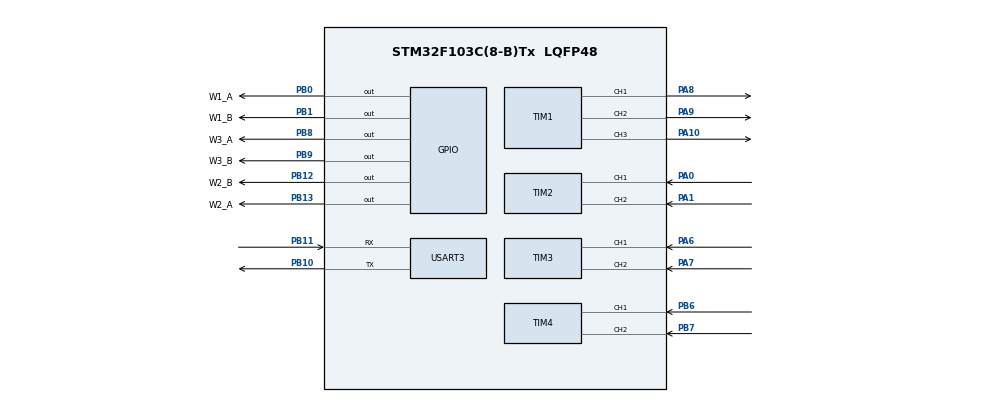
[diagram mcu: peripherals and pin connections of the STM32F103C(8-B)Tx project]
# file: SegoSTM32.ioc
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Mcu.Family=STM32F1
Mcu.Name=STM32F103C(8-B)Tx
Mcu.Package=LQFP48
NVIC.PriorityGroup=NVIC_PRIORITYGROUP_4
PA0-WKUP.Signal=S_TIM2_CH1_ETR
PA1.Signal=S_TIM2_CH2
PA10.Signal=S_TIM1_CH3
PA13.Mode=Serial_Wire
PA13.Signal=SYS_JTMS-SWDIO
PA14.Mode=Serial_Wire
PA14.Signal=SYS_JTCK-SWCLK
PA6.Signal=S_TIM3_CH1
PA7.Signal=S_TIM3_CH2
PA8.Signal=S_TIM1_CH1
PA9.Signal=S_TIM1_CH2
PB0.GPIO_Label=W1_A
PB0.Signal=GPIO_Output
PB1.GPIO_Label=W1_B
PB1.Signal=GPIO_Output
PB10.Mode=Asynchronous
PB10.Signal=USART3_TX
PB11.Mode=Asynchronous
PB11.Signal=USART3_RX
PB12.GPIO_Label=W2_B
PB12.Signal=GPIO_Output
PB13.GPIO_Label=W2_A
PB13.Signal=GPIO_Output
PB6.Signal=S_TIM4_CH1
PB7.Signal=S_TIM4_CH2
PB8.GPIO_Label=W3_A
PB8.Signal=GPIO_Output
PB9.GPIO_Label=W3_B
PB9.Signal=GPIO_Output
ProjectManager.HeapSize=0x200
ProjectManager.StackSize=0x400
ProjectManager.TargetToolchain=STM32CubeIDE
RCC.APB1Freq_Value=8000000
RCC.APB2Freq_Value=8000000
SH.S_TIM1_CH1.0=TIM1_CH1,PWM Generation1 CH1
SH.S_TIM1_CH2.0=TIM1_CH2,PWM Generation2 CH2
SH.S_TIM1_CH3.0=TIM1_CH3,PWM Generation3 CH3
SH.S_TIM2_CH1_ETR.0=TIM2_CH1,Encoder_Interface
SH.S_TIM2_CH2.0=TIM2_CH2,Encoder_Interface
SH.S_TIM3_CH1.0=TIM3_CH1,Encoder_Interface
SH.S_TIM3_CH2.0=TIM3_CH2,Encoder_Interface
SH.S_TIM4_CH1.0=TIM4_CH1,Encoder_Interface
SH.S_TIM4_CH2.0=TIM4_CH2,Encoder_Interface
TIM1.Channel-PWM\ Generation1\ CH1=TIM_CHANNEL_1
TIM1.Channel-PWM\ Generation2\ CH2=TIM_CHANNEL_2
TIM1.Channel-PWM\ Generation3\ CH3=TIM_CHANNEL_3
USART3.VirtualMode=VM_ASYNC
board=custom

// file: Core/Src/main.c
/* USER CODE BEGIN Header */
/**
  ******************************************************************************
  * @file           : main.c
  * @brief          : Main program body
  ******************************************************************************
  * @attention
  *
  * Copyright (c) 2025 STMicroelectronics.
  * All rights reserved.
  *
  * This software is licensed under terms that can be found in the LICENSE file
  * in the root directory of this software component.
  * If no LICENSE file comes with this software, it is provided AS-IS.
  *
  ******************************************************************************
  */
/* USER CODE END Header */
#include "main.h"

/* USER CODE BEGIN Includes */
//THEANH
#include "motor_control.h"
#include <ctype.h>
#include <math.h>
#include <stdio.h>
#include <string.h>
#include <stdlib.h>
//THEANH END
/* USER CODE END Includes */

/* USER CODE BEGIN PD */
//THEANH
#define ENCODER_CPR             52      // Counts per motor shaft revolution
#define GEAR_RATIO              34      // Gear ratio (34:1 or 75:1)
#define COUNTS_PER_WHEEL_REV    (ENCODER_CPR * GEAR_RATIO)  // 1768 for 1:34
#define WHEEL_DIAMETER_M        0.058   // 58mm wheel diameter
#define WHEEL_CIRCUMFERENCE_M   (M_PI * WHEEL_DIAMETER_M)  // 0.182 meters
#define ROBOT_RADIUS_M          0.105   // 10.5cm from center to wheel
// Empirical scale so encoder odometry matches 10/20cm tape tests (actual ≈ 77-86% of requested travel)
#define ODOM_DISTANCE_SCALE     0.902521f  // Updated from MOVE calibration (~0.885m actual for 1.0m odom)
#define METERS_PER_COUNT        ((WHEEL_CIRCUMFERENCE_M / COUNTS_PER_WHEEL_REV) * ODOM_DISTANCE_SCALE)
#define ODOMETRY_UPDATE_HZ      50      // Calculate odometry 50 times per second
#define ODOMETRY_UPDATE_MS      (1000 / ODOMETRY_UPDATE_HZ)
#define UART_BAUD_RATE          115200  // Baud rate for Raspberry Pi communication
#define DEG2RAD(x)              ((x) * (float)M_PI / 180.0f)
#define ANGULAR_RATE_TOL        0.05f   // rad/s tolerance for declaring rotation complete

// Wheel geometry mapped to motor indices (motor1 right/back, motor2 front, motor3 left/back)
static const float wheel_position_angles_deg[3] = { 60.0f, 180.0f, 300.0f };
static const float wheel_drive_angles_deg[3]    = { 150.0f, 270.0f, 30.0f };
//THEANH END
/* USER CODE END PD */

TIM_HandleTypeDef htim1;
TIM_HandleTypeDef htim2;
TIM_HandleTypeDef htim3;
TIM_HandleTypeDef htim4;

UART_HandleTypeDef huart3;

/* USER CODE BEGIN PV */
//THEANH
typedef struct {
    int32_t count;          // Current encoder count
    int32_t prev_count;     // Previous encoder count
    int32_t delta_count;    // Change in count
    float velocity;         // Wheel velocity (m/s)
} EncoderData;

EncoderData motor1, motor2, motor3;
typedef struct {
    float x;                // X position (meters)
    float y;                // Y position (meters)
    float theta;            // Orientation (radians)
    float vx;               // Linear velocity X (m/s)
    float vy;               // Linear velocity Y (m/s)
    float omega;            // Angular velocity (rad/s)
} RobotOdometry;

RobotOdometry robot = {0};
uint32_t last_odometry_time = 0;
char uart_buffer[200];
uint8_t uart_rx_byte = 0;
volatile uint8_t uart_command_ready = 0;
size_t uart_command_length = 0;
char command_buffer[64];

typedef struct {
    uint8_t active;
    MotorDirection direction;
    float duty;  // PWM duty cycle (0.0 to 1.0)
    uint32_t end_time;
} MotorTimer;

MotorTimer motor_timers[3] = {0};

typedef struct {
    uint8_t active;
    float target_x;
    float target_y;
    float target_theta;
    float tolerance_distance;  // meters
    float tolerance_angle;     // radians
    uint32_t timeout_ms;
    uint32_t start_time;
    uint8_t debug_logged_start;
    uint32_t last_debug_time;
} ClosedLoopTarget;

ClosedLoopTarget closed_loop_target = {0};
typedef struct {
    uint8_t active;
    uint32_t end_time;
    float target_theta;
    float base_pwm;
    uint32_t last_debug_time;
} TimedForwardTarget;

TimedForwardTarget timed_forward_target = {0};

typedef struct {
    uint8_t active;
    float target_distance;
    float start_x;
    float start_y;
    float base_pwm;
    uint32_t timeout_ms;
    uint32_t start_time;
    // PID state
    float pid_integral;
    float pid_previous_error;
    float pid_filtered_output;
} MoveTarget;

MoveTarget move_target = {0};

static const float TIMED_HEADING_GAIN = 0.6f;
float wheel_to_body_mat[3][3];   // Maps chassis twist to wheel speeds
float body_from_wheel_mat[3][3]; // Maps wheel speeds back to chassis twist

// Configurable parameters (can be set via SET_PARAM command from Python)
typedef struct {
    // Odometry calibration
    float odom_distance_scale;
    float odom_angular_scale;  // Separate scale for rotation (compensates for wheel slip during rotation)

    // Closed-loop position control
    float linear_k;
    float angular_k;
    float max_speed;
    float min_duty_linear;
    float min_duty_rotate;
    float min_duty_brake;

    // MOVE PID control
    float move_kp;
    float move_ki;
    float move_kd;
    float move_min_pwm;
    float move_max_pwm;
    float move_output_smoothing;
    float move_base_skew;
    float move_base_pwm;
    uint32_t move_timeout_ms;

    // ROTATE tolerances
    float rotate_tol_distance;
    float rotate_tol_angle;
    uint32_t rotate_timeout_ms;

    // MOVE_DIST tolerances
    float move_dist_tol_distance;
    float move_dist_tol_angle;
    uint32_t move_dist_timeout_ms;

    // Angular rate tolerance for "stopped" detection
    float angular_rate_tol;
} ConfigParams;

ConfigParams cfg = {
    // Odometry calibration
    .odom_distance_scale = 0.902521f,
    .odom_angular_scale = 1.0f,  // Default 1.0 (no additional angular correction)

    // Closed-loop position control
    .linear_k = 1.0f,
    .angular_k = 0.55f,
    .max_speed = 0.8f,
    .min_duty_linear = 0.45f,
    .min_duty_rotate = 0.48f,
    .min_duty_brake = 0.18f,

    // MOVE PID control
    .move_kp = -0.0040f,
    .move_ki = -0.00015f,
    .move_kd = -0.0008f,
    .move_min_pwm = 0.46f,
    .move_max_pwm = 0.70f,
    .move_output_smoothing = 0.25f,
    .move_base_skew = 0.015f,
    .move_base_pwm = 0.58f,
    .move_timeout_ms = 20000,

    // ROTATE tolerances
    .rotate_tol_distance = 0.02f,
    .rotate_tol_angle = 0.02f,
    .rotate_timeout_ms = 10000,

    // MOVE_DIST tolerances
    .move_dist_tol_distance = 0.01f,
    .move_dist_tol_angle = 0.05f,
    .move_dist_timeout_ms = 10000,

    // Angular rate tolerance
    .angular_rate_tol = 0.05f,
};
//THEANH END
/* USER CODE END PV */

void SystemClock_Config(void);
static void MX_GPIO_Init(void);
static void MX_TIM2_Init(void);
static void MX_TIM3_Init(void);
static void MX_TIM4_Init(void);
static void MX_USART3_UART_Init(void);
static void MX_TIM1_Init(void);
/* USER CODE BEGIN PFP */
//THEANH
void Read_Encoders(void);
void Calculate_Odometry(float dt);
void Send_Odometry_Data(void);
void Process_Command(const char *command);
void MotorTimers_Update(void);
static int32_t Encoder_ComputeDelta(int32_t current_count, int32_t previous_count);
uint8_t IsAtTarget(void);
void UpdateClosedLoopControl(void);
void UpdateTimedForwardControl(void);
void UpdateMoveControl(void);
void Kinematics_Init(void);
static void Mat3MulVec(const float m[3][3], const float v[3], float out[3]);
static uint8_t Mat3Inverse(const float m[3][3], float inv[3][3]);
//THEANH END
/* USER CODE END PFP */

/* USER CODE BEGIN 0 */
//THEANH
static int32_t Encoder_ComputeDelta(int32_t current_count, int32_t previous_count)
{
    int32_t delta = current_count - previous_count;
    if (delta > 32768) {
        delta -= 65536;
    } else if (delta < -32768) {
        delta += 65536;
    }
    return delta;
}

void Read_Encoders(void)
{
    // Read current encoder counts
    motor1.count = (int32_t)__HAL_TIM_GET_COUNTER(&htim2);
    motor2.count = (int32_t)__HAL_TIM_GET_COUNTER(&htim3);
    motor3.count = (int32_t)__HAL_TIM_GET_COUNTER(&htim4);

    // Calculate change in counts
    motor1.delta_count = Encoder_ComputeDelta(motor1.count, motor1.prev_count);
    motor2.delta_count = Encoder_ComputeDelta(motor2.count, motor2.prev_count);
    motor3.delta_count = Encoder_ComputeDelta(motor3.count, motor3.prev_count);

    // Update previous counts
    motor1.prev_count = motor1.count;
    motor2.prev_count = motor2.count;
    motor3.prev_count = motor3.count;
}

static void Mat3MulVec(const float m[3][3], const float v[3], float out[3])
{
    for (uint8_t i = 0; i < 3; ++i) {
        out[i] = m[i][0] * v[0] + m[i][1] * v[1] + m[i][2] * v[2];
    }
}

static uint8_t Mat3Inverse(const float m[3][3], float inv[3][3])
{
    float det = m[0][0] * (m[1][1] * m[2][2] - m[1][2] * m[2][1])
              - m[0][1] * (m[1][0] * m[2][2] - m[1][2] * m[2][0])
              + m[0][2] * (m[1][0] * m[2][1] - m[1][1] * m[2][0]);

    if (fabsf(det) < 1e-6f) {
        return 0;
    }

    float inv_det = 1.0f / det;
    inv[0][0] =  (m[1][1] * m[2][2] - m[1][2] * m[2][1]) * inv_det;
    inv[0][1] = -(m[0][1] * m[2][2] - m[0][2] * m[2][1]) * inv_det;
    inv[0][2] =  (m[0][1] * m[1][2] - m[0][2] * m[1][1]) * inv_det;

    inv[1][0] = -(m[1][0] * m[2][2] - m[1][2] * m[2][0]) * inv_det;
    inv[1][1] =  (m[0][0] * m[2][2] - m[0][2] * m[2][0]) * inv_det;
    inv[1][2] = -(m[0][0] * m[1][2] - m[0][2] * m[1][0]) * inv_det;

    inv[2][0] =  (m[1][0] * m[2][1] - m[1][1] * m[2][0]) * inv_det;
    inv[2][1] = -(m[0][0] * m[2][1] - m[0][1] * m[2][0]) * inv_det;
    inv[2][2] =  (m[0][0] * m[1][1] - m[0][1] * m[1][0]) * inv_det;
    return 1;
}

void Kinematics_Init(void)
{
    // Build kinematic rows in physical order: front (motor2), left (motor3), right (motor1)
    const uint8_t order[3] = {1, 2, 0}; // indices into wheel_*_angles arrays
    for (uint8_t row = 0; row < 3; ++row) {
        uint8_t i = order[row];
        float drive_rad = DEG2RAD(wheel_drive_angles_deg[i]);
        float pos_rad = DEG2RAD(wheel_position_angles_deg[i]);
        float tx = cosf(drive_rad);
        float ty = sinf(drive_rad);
        float rx = ROBOT_RADIUS_M * cosf(pos_rad);
        float ry = ROBOT_RADIUS_M * sinf(pos_rad);

        wheel_to_body_mat[row][0] = tx;
        wheel_to_body_mat[row][1] = ty;
        wheel_to_body_mat[row][2] = -ry * tx + rx * ty;
    }

    if (!Mat3Inverse(wheel_to_body_mat, body_from_wheel_mat)) {
        for (uint8_t r = 0; r < 3; ++r) {
            for (uint8_t c = 0; c < 3; ++c) {
                body_from_wheel_mat[r][c] = (r == c) ? 1.0f : 0.0f;
            }
        }
    }
}
void Calculate_Odometry(float dt)
{
    if (dt <= 0) return;  // Avoid division by zero

    // Calculate meters per count using configurable scale
    float meters_per_count = (WHEEL_CIRCUMFERENCE_M / COUNTS_PER_WHEEL_REV) * cfg.odom_distance_scale;

    // Calculate wheel velocities (m/s)
    float v1 = (motor1.delta_count * meters_per_count) / dt;
    float v2 = (motor2.delta_count * meters_per_count) / dt;
    float v3 = (motor3.delta_count * meters_per_count) / dt;

    motor1.velocity = v1;
    motor2.velocity = v2;
    motor3.velocity = v3;

    float wheel_vector[3] = {v1, v2, v3};
    float body_vector[3] = {0.0f};
    Mat3MulVec(body_from_wheel_mat, wheel_vector, body_vector);

    robot.vx = body_vector[0];
    robot.vy = body_vector[1];
    robot.omega = body_vector[2] * cfg.odom_angular_scale;  // Apply angular scale for rotation calibration

    robot.theta += robot.omega * dt;

    while (robot.theta > M_PI) robot.theta -= 2.0f * M_PI;
    while (robot.theta < -M_PI) robot.theta += 2.0f * M_PI;

    float cos_theta = cosf(robot.theta);
    float sin_theta = sinf(robot.theta);

    float vx_world = robot.vx * cos_theta - robot.vy * sin_theta;
    float vy_world = robot.vx * sin_theta + robot.vy * cos_theta;

    robot.x += vx_world * dt;
    robot.y += vy_world * dt;
}
void Send_Odometry_Data(void)
{
    // Format: x,y,theta,vx,vy,omega,m1,m2,m3
    // Position in meters, angles in radians, velocities in m/s and rad/s
    sprintf(uart_buffer,
            "%.4f,%.4f,%.4f,%.3f,%.3f,%.3f,%ld,%ld,%ld\r\n",
            robot.x, robot.y, robot.theta,
            robot.vx, robot.vy, robot.omega,
            motor1.delta_count, motor2.delta_count, motor3.delta_count);

    HAL_UART_Transmit(&huart3, (uint8_t*)uart_buffer, strlen(uart_buffer), 100);
}

static MotorDirection Direction_FromToken(const char *token, uint8_t *valid)
{
    if (valid) {
        *valid = 0;
    }
    if (token == NULL || token[0] == '\0') {
        return MOTOR_DIRECTION_STOP;
    }
    char c = (char)toupper((unsigned char)token[0]);
    MotorDirection direction = MOTOR_DIRECTION_STOP;
    switch (c) {
    case 'F':
        direction = MOTOR_DIRECTION_FORWARD;
        break;
    case 'R':
        direction = MOTOR_DIRECTION_REVERSE;
        break;
    case 'S':
        direction = MOTOR_DIRECTION_STOP;
        break;
    default:
        return MOTOR_DIRECTION_STOP;
    }
    if (valid) {
        *valid = 1;
    }
    return direction;
}

static uint8_t ParseDurationMs(const char *token, uint32_t *duration_ms)
{
    if (token == NULL || duration_ms == NULL) {
        return 0;
    }
    char *endptr = NULL;
    unsigned long value = strtoul(token, &endptr, 10);
    if (endptr == token || (*endptr != '\0' && *endptr != '\r' && *endptr != '\n')) {
        return 0;
    }
    *duration_ms = (uint32_t)value;
    return 1;
}

static void MotorTimers_ClearAll(void)
{
    for (size_t i = 0; i < 3; ++i) {
        motor_timers[i].active = 0;
        motor_timers[i].direction = MOTOR_DIRECTION_STOP;
        motor_timers[i].end_time = 0;
    }
}

static void MotorTimer_Set(uint8_t motor_index, MotorDirection direction, uint32_t duration_ms)
{
    if (motor_index >= 3) {
        return;
    }
    if (direction == MOTOR_DIRECTION_STOP || duration_ms == 0) {
        motor_timers[motor_index].active = 0;
    } else {
        motor_timers[motor_index].active = 1;
        motor_timers[motor_index].direction = direction;
        motor_timers[motor_index].duty = 1.0f;  // Full power by default
        motor_timers[motor_index].end_time = HAL_GetTick() + duration_ms;
    }
    MotorControl_Set(motor_index + 1, direction);
}

static void MotorTimer_SetPwm(uint8_t motor_index, MotorDirection direction, float duty, uint32_t duration_ms)
{
    if (motor_index >= 3) {
        return;
    }
    if (direction == MOTOR_DIRECTION_STOP || duration_ms == 0) {
        motor_timers[motor_index].active = 0;
    } else {
        motor_timers[motor_index].active = 1;
        motor_timers[motor_index].direction = direction;
        motor_timers[motor_index].duty = duty;  // Custom PWM
        motor_timers[motor_index].end_time = HAL_GetTick() + duration_ms;
    }

    // Set direction and PWM directly
    switch (motor_index) {
        case 0:
            MotorControl_WritePins(W1_A_GPIO_Port, W1_A_Pin, W1_B_Pin, direction);
            MotorControl_SetDuty(1, duty);
            break;
        case 1:
            MotorControl_WritePins(W2_A_GPIO_Port, W2_A_Pin, W2_B_Pin, direction);
            MotorControl_SetDuty(2, duty);
            break;
        case 2:
            MotorControl_WritePins(W3_A_GPIO_Port, W3_A_Pin, W3_B_Pin, direction);
            MotorControl_SetDuty(3, duty);
            break;
    }
}

static void Send_Response(const char *message)
{
    if (message == NULL) {
        return;
    }
    HAL_UART_Transmit(&huart3, (uint8_t*)message, strlen(message), 100);
}

//THEANH - Closed Loop Control Functions
uint8_t IsAtTarget(void) {
    if (!closed_loop_target.active) return 1;

    float dx = robot.x - closed_loop_target.target_x;
    float dy = robot.y - closed_loop_target.target_y;
    float distance_error = sqrtf(dx*dx + dy*dy);

    float angle_error = robot.theta - closed_loop_target.target_theta;
    // Normalize angle error to [-pi, pi]
    while (angle_error > M_PI) angle_error -= 2.0f * M_PI;
    while (angle_error < -M_PI) angle_error += 2.0f * M_PI;
    angle_error = fabsf(angle_error);

    float angular_rate = fabsf(robot.omega);

    return (distance_error < closed_loop_target.tolerance_distance &&
            angle_error < closed_loop_target.tolerance_angle &&
            angular_rate < cfg.angular_rate_tol);
}

void UpdateClosedLoopControl(void) {
    if (!closed_loop_target.active) return;

    uint32_t now = HAL_GetTick();

    // Check timeout
    if ((now - closed_loop_target.start_time) > closed_loop_target.timeout_ms) {
        closed_loop_target.active = 0;
        MotorControl_SetAll(MOTOR_DIRECTION_STOP, MOTOR_DIRECTION_STOP, MOTOR_DIRECTION_STOP);
        Send_Response("TIMEOUT\r\n");
        return;
    }

    // Check if target reached
    if (IsAtTarget()) {
        closed_loop_target.active = 0;
        MotorControl_SetAll(MOTOR_DIRECTION_STOP, MOTOR_DIRECTION_STOP, MOTOR_DIRECTION_STOP);
        Send_Response("TARGET_REACHED\r\n");
        return;
    }

    // Proportional error
    float dx = closed_loop_target.target_x - robot.x;
    float dy = closed_loop_target.target_y - robot.y;
    float dtheta = closed_loop_target.target_theta - robot.theta;
    while (dtheta > M_PI) dtheta -= 2.0f * M_PI;
    while (dtheta < -M_PI) dtheta += 2.0f * M_PI;
    float distance_error = sqrtf(dx*dx + dy*dy);

    // Convert world error into robot frame
    float cos_theta = cosf(robot.theta);
    float sin_theta = sinf(robot.theta);
    float dx_robot = dx * cos_theta + dy * sin_theta;
    float dy_robot = -dx * sin_theta + dy * cos_theta;

    // Gain settings (from configurable params)
    float vx = cfg.linear_k * dx_robot;
    float vy = cfg.linear_k * dy_robot;
    float omega = cfg.angular_k * dtheta;

    // Clamp commands
    vx = fmaxf(fminf(vx, cfg.max_speed), -cfg.max_speed);
    vy = fmaxf(fminf(vy, cfg.max_speed), -cfg.max_speed);
    omega = fmaxf(fminf(omega, cfg.max_speed), -cfg.max_speed);

    if (!closed_loop_target.debug_logged_start) {
        sprintf(uart_buffer,
                "CL START tgt=(%.3f,%.3f,%.3f) cur=(%.3f,%.3f,%.3f)\r\n",
                closed_loop_target.target_x,
                closed_loop_target.target_y,
                closed_loop_target.target_theta,
                robot.x, robot.y, robot.theta);
        HAL_UART_Transmit(&huart3, (uint8_t*)uart_buffer, strlen(uart_buffer), 100);
        closed_loop_target.debug_logged_start = 1;
        closed_loop_target.last_debug_time = now;
    }

    float twist_cmd[3] = {vx, vy, omega};
    float wheel_cmds[3] = {0.0f};
    Mat3MulVec(wheel_to_body_mat, twist_cmd, wheel_cmds);

    float max_mag = fmaxf(fmaxf(fabsf(wheel_cmds[0]), fabsf(wheel_cmds[1])), fabsf(wheel_cmds[2]));
    if (max_mag > 1.0f) {
        wheel_cmds[0] /= max_mag;
        wheel_cmds[1] /= max_mag;
        wheel_cmds[2] /= max_mag;
    }

    // Apply deadband and remap to [min_duty, 1.0]
    float min_duty = cfg.min_duty_linear;
    if (distance_error < 0.05f) {
        float angle_mag = fabsf(dtheta);
        if (angle_mag >= 0.4f) {
            min_duty = cfg.min_duty_rotate;
        } else {
            float frac = angle_mag / 0.4f;
            if (frac < 0.0f) frac = 0.0f;
            if (frac > 1.0f) frac = 1.0f;
            min_duty = cfg.min_duty_brake + frac * (cfg.min_duty_rotate - cfg.min_duty_brake);
        }
    }
    for (int i = 0; i < 3; i++) {
        float speed = wheel_cmds[i];
        if (fabsf(speed) > 0.01f) { // If not in deadband
            // Remap [0, 1] output to [min_duty, 1.0]
            float remapped_speed = min_duty + fabsf(speed) * (1.0f - min_duty);
            wheel_cmds[i] = (speed > 0) ? remapped_speed : -remapped_speed;
        }
    }

    if (now - closed_loop_target.last_debug_time >= 200) {
        sprintf(uart_buffer,
                "CL CMD dist=%.3f dth=%.3f body=(%.3f,%.3f,%.3f) wheels=(%.2f,%.2f,%.2f)\r\n",
                distance_error,
                dtheta,
                vx, vy, omega,
                wheel_cmds[0], wheel_cmds[1], wheel_cmds[2]);
        HAL_UART_Transmit(&huart3, (uint8_t*)uart_buffer, strlen(uart_buffer), 100);
        closed_loop_target.last_debug_time = now;
    }

    MotorControl_Command(2, wheel_cmds[0]); // row0: front wheel (motor 2)
    MotorControl_Command(3, wheel_cmds[1]); // row1: left wheel (motor 3)
    MotorControl_Command(1, wheel_cmds[2]); // row2: right wheel (motor 1)
}
//THEANH END

void UpdateTimedForwardControl(void) {
    if (!timed_forward_target.active) return;
    uint32_t now = HAL_GetTick();
    if (now >= timed_forward_target.end_time) {
        timed_forward_target.active = 0;
        MotorControl_SetAll(MOTOR_DIRECTION_STOP, MOTOR_DIRECTION_STOP, MOTOR_DIRECTION_STOP);
        Send_Response("TIMED_DONE\r\n");
        return;
    }

    float dtheta = timed_forward_target.target_theta - robot.theta;
    while (dtheta > M_PI) dtheta -= 2.0f * M_PI;
    while (dtheta < -M_PI) dtheta += 2.0f * M_PI;

    float correction = TIMED_HEADING_GAIN * dtheta;
    float motor1_cmd = -timed_forward_target.base_pwm + correction;
    float motor2_cmd = 0.0f;
    float motor3_cmd =  timed_forward_target.base_pwm + correction;

    if (motor1_cmd > 1.0f) motor1_cmd = 1.0f;
    if (motor1_cmd < -1.0f) motor1_cmd = -1.0f;
    if (motor3_cmd > 1.0f) motor3_cmd = 1.0f;
    if (motor3_cmd < -1.0f) motor3_cmd = -1.0f;

    const float min_duty = 0.20f;
    if (fabsf(motor1_cmd) > 0.0f && fabsf(motor1_cmd) < min_duty)
        motor1_cmd = copysignf(min_duty, motor1_cmd);
    if (fabsf(motor3_cmd) > 0.0f && fabsf(motor3_cmd) < min_duty)
        motor3_cmd = copysignf(min_duty, motor3_cmd);

    MotorControl_Command(1, motor1_cmd);
    MotorControl_Command(2, motor2_cmd);
    MotorControl_Command(3, motor3_cmd);

    if (now - timed_forward_target.last_debug_time >= 250) {
        sprintf(uart_buffer,
                "TIMED CMD theta_err=%.3f cmds=(%.2f,%.2f,%.2f)\r\n",
                dtheta, motor1_cmd, motor2_cmd, motor3_cmd);
        HAL_UART_Transmit(&huart3, (uint8_t*)uart_buffer, strlen(uart_buffer), 100);
        timed_forward_target.last_debug_time = now;
    }
}

void UpdateMoveControl(void) {
    if (!move_target.active) return;

    uint32_t now = HAL_GetTick();

    // Check timeout (using per-move timeout stored when MOVE was initiated)
    if ((now - move_target.start_time) > move_target.timeout_ms) {
        move_target.active = 0;
        MotorControl_SetAll(MOTOR_DIRECTION_STOP, MOTOR_DIRECTION_STOP, MOTOR_DIRECTION_STOP);
        Send_Response("MOVE TIMEOUT\r\n");
        return;
    }

    float dx = robot.x - move_target.start_x;
    float dy = robot.y - move_target.start_y;
    float distance_traveled = sqrtf(dx*dx + dy*dy);

    if (distance_traveled >= move_target.target_distance) {
        move_target.active = 0;
        MotorControl_SetAll(MOTOR_DIRECTION_STOP, MOTOR_DIRECTION_STOP, MOTOR_DIRECTION_STOP);
        Send_Response("MOVE TARGET_REACHED\r\n");
        return;
    }

    // PID controller for drift correction (using configurable params)
    int32_t error = motor1.delta_count + motor2.delta_count + motor3.delta_count;

    // Proportional term
    float p_term = cfg.move_kp * (float)error;

    // Integral term
    move_target.pid_integral += (float)error;
    float i_term = cfg.move_ki * move_target.pid_integral;

    // Derivative term
    float derivative = (float)error - move_target.pid_previous_error;
    float d_term = cfg.move_kd * derivative;
    move_target.pid_previous_error = (float)error;

    float correction_pwm = p_term + i_term + d_term;
    // Low-pass filter the PID output so the correction wheel ramps instead of slamming
    correction_pwm = move_target.pid_filtered_output +
                     cfg.move_output_smoothing * (correction_pwm - move_target.pid_filtered_output);
    move_target.pid_filtered_output = correction_pwm;

    // Apply deadband compensation
    if (fabsf(correction_pwm) > 0.01f) { // Only apply correction if error is significant
        if (correction_pwm > 1.0f) correction_pwm = 1.0f;
        if (correction_pwm < -1.0f) correction_pwm = -1.0f;
        float output_pwm = cfg.move_min_pwm + fabsf(correction_pwm) * (cfg.move_max_pwm - cfg.move_min_pwm);
        if (output_pwm > cfg.move_max_pwm) {
            output_pwm = cfg.move_max_pwm;
        }
        correction_pwm = copysignf(output_pwm, correction_pwm);
    }

    // Apply base PWM to Motor 1 (Reverse) and Motor 3 (Forward) with slight skew for lateral bias
    float motor1_cmd = -(move_target.base_pwm + cfg.move_base_skew); // Motor 1 Reverse harder
    float motor3_cmd =  (move_target.base_pwm - cfg.move_base_skew); // Motor 3 Forward slightly softer

    if (motor1_cmd < -1.0f) motor1_cmd = -1.0f;
    if (motor3_cmd > 1.0f)  motor3_cmd = 1.0f;

    MotorControl_Command(1, motor1_cmd);
    MotorControl_Command(3, motor3_cmd);

    // Apply correction to Motor 2
    MotorControl_Command(2, correction_pwm);
}
void Process_Command(const char *command)
{
    if (command == NULL) {
        return;
    }

    char working_copy[64];
    strncpy(working_copy, command, sizeof(working_copy));
    working_copy[sizeof(working_copy) - 1] = '\0';

    char *token = strtok(working_copy, " ,");
    if (token == NULL) {
        return;
    }

    if (strcmp(token, "SET") == 0) {
        char *dir_tokens[3];
        for (int i = 0; i < 3; ++i) {
            dir_tokens[i] = strtok(NULL, " ,");
            if (dir_tokens[i] == NULL) {
                Send_Response("ERR SET params\r\n");
                return;
            }
        }
        uint8_t valid = 0;
        MotorDirection directions[3];
        for (int i = 0; i < 3; ++i) {
            directions[i] = Direction_FromToken(dir_tokens[i], &valid);
            if (!valid) {
                Send_Response("ERR SET dir\r\n");
                return;
            }
        }
        MotorTimers_ClearAll();
        MotorControl_SetAll(directions[0], directions[1], directions[2]);
        Send_Response("OK SET\r\n");
        return;
    }

    if (strcmp(token, "RUN") == 0) {
        char *param1 = strtok(NULL, " ,");
        char *param2 = strtok(NULL, " ,");
        char *param3 = strtok(NULL, " ,");
        char *param4 = strtok(NULL, " ,");
        if (param1 == NULL || param2 == NULL) {
            Send_Response("ERR RUN params\r\n");
            return;
        }
        MotorDirection directions[3];
        uint32_t duration_ms = 0;
        uint8_t valid = 0;
        if (param3 == NULL) {
            directions[0] = Direction_FromToken(param1, &valid);
            if (!valid || !ParseDurationMs(param2, &duration_ms)) {
                Send_Response("ERR RUN data\r\n");
                return;
            }
            directions[1] = directions[0];
            directions[2] = directions[0];
        } else if (param4 != NULL && strtok(NULL, " ,") == NULL) {
            directions[0] = Direction_FromToken(param1, &valid);
            if (!valid) {
                Send_Response("ERR RUN dir1\r\n");
                return;
            }
            directions[1] = Direction_FromToken(param2, &valid);
            if (!valid) {
                Send_Response("ERR RUN dir2\r\n");
                return;
            }
            directions[2] = Direction_FromToken(param3, &valid);
            if (!valid || !ParseDurationMs(param4, &duration_ms)) {
                Send_Response("ERR RUN data\r\n");
                return;
            }
        } else {
            Send_Response("ERR RUN format\r\n");
            return;
        }
        MotorTimers_ClearAll();
        for (uint8_t i = 0; i < 3; ++i) {
            MotorTimer_Set(i, directions[i], duration_ms);
        }
        Send_Response("OK RUN\r\n");
        return;
    }

    if (strcmp(token, "RUNM") == 0) {
        char *motor_idx_token = strtok(NULL, " ,");
        char *dir_token = strtok(NULL, " ,");
        char *duration_token = strtok(NULL, " ,");
        if (motor_idx_token == NULL || dir_token == NULL || duration_token == NULL || strtok(NULL, " ,") != NULL) {
            Send_Response("ERR RUNM params\r\n");
            return;
        }
        int motor_idx = atoi(motor_idx_token);
        if (motor_idx < 1 || motor_idx > 3) {
            Send_Response("ERR RUNM motor\r\n");
            return;
        }
        uint8_t valid = 0;
        MotorDirection direction = Direction_FromToken(dir_token, &valid);
        uint32_t duration_ms = 0;
        if (!valid || !ParseDurationMs(duration_token, &duration_ms)) {
            Send_Response("ERR RUNM data\r\n");
            return;
        }
        MotorTimer_Set((uint8_t)(motor_idx - 1), direction, duration_ms);
        Send_Response("OK RUNM\r\n");
        return;
    }

    if (strcmp(token, "RUNP") == 0) {
        // RUNP command: RUNP dir1 dir2 dir3 pwm duration_ms
        char *param1 = strtok(NULL, " ,");
        char *param2 = strtok(NULL, " ,");
        char *param3 = strtok(NULL, " ,");
        char *param4 = strtok(NULL, " ,");
        char *param5 = strtok(NULL, " ,");
        if (param1 == NULL || param2 == NULL) {
            Send_Response("ERR RUNP params\r\n");
            return;
        }
        MotorDirection directions[3];
        float duty = 0.0f;
        uint32_t duration_ms = 0;
        uint8_t valid = 0;

        if (param3 != NULL && param4 != NULL && param5 != NULL && strtok(NULL, " ,") == NULL) {
            // 5-param version: dir1 dir2 dir3 pwm duration
            directions[0] = Direction_FromToken(param1, &valid);
            if (!valid) {
                Send_Response("ERR RUNP dir1\r\n");
                return;
            }
            directions[1] = Direction_FromToken(param2, &valid);
            if (!valid) {
                Send_Response("ERR RUNP dir2\r\n");
                return;
            }
            directions[2] = Direction_FromToken(param3, &valid);
            if (!valid) {
                Send_Response("ERR RUNP dir3\r\n");
                return;
            }
            duty = atof(param4);
            if (duty <= 0.0f || duty > 1.0f) {
                Send_Response("ERR RUNP pwm\r\n");
                return;
            }
            if (!ParseDurationMs(param5, &duration_ms)) {
                Send_Response("ERR RUNP duration\r\n");
                return;
            }
        } else if (param3 != NULL && param4 == NULL) {
            // 3-param version: dir pwm duration
            directions[0] = Direction_FromToken(param1, &valid);
            if (!valid) {
                Send_Response("ERR RUNP dir\r\n");
                return;
            }
            duty = atof(param2);
            if (duty <= 0.0f || duty > 1.0f) {
                Send_Response("ERR RUNP pwm\r\n");
                return;
            }
            if (!ParseDurationMs(param3, &duration_ms)) {
                Send_Response("ERR RUNP duration\r\n");
                return;
            }
            directions[1] = directions[0];
            directions[2] = directions[0];
        } else {
            Send_Response("ERR RUNP format\r\n");
            return;
        }
        MotorTimers_ClearAll();
        for (uint8_t i = 0; i < 3; ++i) {
            MotorTimer_SetPwm(i, directions[i], duty, duration_ms);
        }
        Send_Response("OK RUNP\r\n");
        return;
    }

    if (strcmp(token, "STOP") == 0) {
        MotorTimers_ClearAll();
        closed_loop_target.active = 0; // Stop any active closed-loop control
        timed_forward_target.active = 0;
        move_target.active = 0;
        MotorControl_SetAll(MOTOR_DIRECTION_STOP,
                            MOTOR_DIRECTION_STOP,
                            MOTOR_DIRECTION_STOP);
        Send_Response("OK STOP\r\n");
        return;
    }

    if (strcmp(token, "RESET_ODOM") == 0) {
        MotorTimers_ClearAll();
        closed_loop_target.active = 0;
        timed_forward_target.active = 0;
        move_target.active = 0;

        robot.x = 0.0f;
        robot.y = 0.0f;
        robot.theta = 0.0f;
        robot.vx = 0.0f;
        robot.vy = 0.0f;
        robot.omega = 0.0f;
        last_odometry_time = HAL_GetTick();

        motor1.prev_count = motor1.count = (int32_t)__HAL_TIM_GET_COUNTER(&htim2);
        motor2.prev_count = motor2.count = (int32_t)__HAL_TIM_GET_COUNTER(&htim3);
        motor3.prev_count = motor3.count = (int32_t)__HAL_TIM_GET_COUNTER(&htim4);
        motor1.delta_count = 0;
        motor2.delta_count = 0;
        motor3.delta_count = 0;

        move_target.pid_integral = 0.0f;
        move_target.pid_previous_error = 0.0f;
        move_target.pid_filtered_output = 0.0f;

        Send_Response("OK RESET_ODOM\r\n");
        return;
    }

    //THEANH - SET_PARAM command for runtime configuration
    if (strcmp(token, "SET_PARAM") == 0) {
        char *param_name = strtok(NULL, " ,");
        char *param_value = strtok(NULL, " ,");
        if (param_name == NULL || param_value == NULL) {
            Send_Response("ERR SET_PARAM params\r\n");
            return;
        }
        float fval = atof(param_value);
        uint32_t uval = (uint32_t)atol(param_value);
        uint8_t found = 1;

        // Odometry calibration
        if (strcmp(param_name, "odom_scale") == 0) {
            cfg.odom_distance_scale = fval;
        }
        else if (strcmp(param_name, "odom_angular_scale") == 0) {
            cfg.odom_angular_scale = fval;
        }
        // Closed-loop position control
        else if (strcmp(param_name, "linear_k") == 0) {
            cfg.linear_k = fval;
        }
        else if (strcmp(param_name, "angular_k") == 0) {
            cfg.angular_k = fval;
        }
        else if (strcmp(param_name, "max_speed") == 0) {
            cfg.max_speed = fval;
        }
        else if (strcmp(param_name, "min_duty_linear") == 0) {
            cfg.min_duty_linear = fval;
        }
        else if (strcmp(param_name, "min_duty_rotate") == 0) {
            cfg.min_duty_rotate = fval;
        }
        else if (strcmp(param_name, "min_duty_brake") == 0) {
            cfg.min_duty_brake = fval;
        }
        // MOVE PID control
        else if (strcmp(param_name, "move_kp") == 0) {
            cfg.move_kp = fval;
        }
        else if (strcmp(param_name, "move_ki") == 0) {
            cfg.move_ki = fval;
        }
        else if (strcmp(param_name, "move_kd") == 0) {
            cfg.move_kd = fval;
        }
        else if (strcmp(param_name, "move_min_pwm") == 0) {
            cfg.move_min_pwm = fval;
        }
        else if (strcmp(param_name, "move_max_pwm") == 0) {
            cfg.move_max_pwm = fval;
        }
        else if (strcmp(param_name, "move_smoothing") == 0) {
            cfg.move_output_smoothing = fval;
        }
        else if (strcmp(param_name, "move_skew") == 0) {
            cfg.move_base_skew = fval;
        }
        else if (strcmp(param_name, "move_base_pwm") == 0) {
            cfg.move_base_pwm = fval;
        }
        else if (strcmp(param_name, "move_timeout") == 0) {
            cfg.move_timeout_ms = uval;
        }
        // ROTATE tolerances
        else if (strcmp(param_name, "rotate_tol_dist") == 0) {
            cfg.rotate_tol_distance = fval;
        }
        else if (strcmp(param_name, "rotate_tol_angle") == 0) {
            cfg.rotate_tol_angle = fval;
        }
        else if (strcmp(param_name, "rotate_timeout") == 0) {
            cfg.rotate_timeout_ms = uval;
        }
        // MOVE_DIST tolerances
        else if (strcmp(param_name, "move_dist_tol_dist") == 0) {
            cfg.move_dist_tol_distance = fval;
        }
        else if (strcmp(param_name, "move_dist_tol_angle") == 0) {
            cfg.move_dist_tol_angle = fval;
        }
        else if (strcmp(param_name, "move_dist_timeout") == 0) {
            cfg.move_dist_timeout_ms = uval;
        }
        // Angular rate tolerance
        else if (strcmp(param_name, "angular_rate_tol") == 0) {
            cfg.angular_rate_tol = fval;
        }
        else {
            found = 0;
        }

        if (found) {
            sprintf(uart_buffer, "OK SET_PARAM %s\r\n", param_name);
            Send_Response(uart_buffer);
        } else {
            sprintf(uart_buffer, "ERR SET_PARAM unknown: %s\r\n", param_name);
            Send_Response(uart_buffer);
        }
        return;
    }
    //THEANH END

    if (strcmp(token, "MOVE") == 0) {
		char *distance_token = strtok(NULL, " ,");
		if (distance_token == NULL) {
			Send_Response("ERR MOVE params\r\n");
			return;
		}
		float distance = atof(distance_token);
		if (distance <= 0.0f) {
			Send_Response("ERR MOVE distance\r\n");
			return;
		}

		move_target.active = 1;
		move_target.target_distance = distance;
		move_target.start_x = robot.x;
		move_target.start_y = robot.y;
		move_target.base_pwm = cfg.move_base_pwm;
		move_target.timeout_ms = cfg.move_timeout_ms;
		move_target.start_time = HAL_GetTick();
		move_target.pid_integral = 0.0f;
		move_target.pid_previous_error = 0.0f;
		move_target.pid_filtered_output = 0.0f;

		Send_Response("OK MOVE\r\n");
		return;
	}

    //THEANH - New Closed Loop Commands
    if (strcmp(token, "MOVE_DIST") == 0) {
        char *distance_token = strtok(NULL, " ,");
        if (distance_token == NULL || strtok(NULL, " ,") != NULL) {
            Send_Response("ERR MOVE_DIST params\r\n");
            return;
        }

        float distance = atof(distance_token);

        // Set target relative to current position (forward direction)
        float cos_theta = cosf(robot.theta);
        float sin_theta = sinf(robot.theta);

        closed_loop_target.active = 1;
        closed_loop_target.target_x = robot.x + distance * cos_theta;
        closed_loop_target.target_y = robot.y + distance * sin_theta;
        closed_loop_target.target_theta = robot.theta;
        closed_loop_target.tolerance_distance = cfg.move_dist_tol_distance;
        closed_loop_target.tolerance_angle = cfg.move_dist_tol_angle;
        closed_loop_target.timeout_ms = cfg.move_dist_timeout_ms;
        closed_loop_target.start_time = HAL_GetTick();
        closed_loop_target.debug_logged_start = 0;
        closed_loop_target.last_debug_time = HAL_GetTick();

        Send_Response("OK MOVE_DIST\r\n");
        return;
    }

    if (strcmp(token, "MOVE_TIME") == 0) {
        char *duration_token = strtok(NULL, " ,");
        char *pwm_token = strtok(NULL, " ,");
        if (duration_token == NULL || strtok(NULL, " ,") != NULL) {
            Send_Response("ERR MOVE_TIME params\r\n");
            return;
        }
        float duration_s = atof(duration_token);
        if (duration_s <= 0.0f) {
            Send_Response("ERR MOVE_TIME duration\r\n");
            return;
        }
        float base_pwm = (pwm_token) ? atof(pwm_token) : 0.45f;
        if (base_pwm <= 0.0f || base_pwm > 1.0f) {
            Send_Response("ERR MOVE_TIME pwm\r\n");
            return;
        }

        MotorTimers_ClearAll();
        closed_loop_target.active = 0;
        timed_forward_target.active = 1;
        timed_forward_target.target_theta = robot.theta;
        timed_forward_target.base_pwm = base_pwm;
        timed_forward_target.end_time = HAL_GetTick() + (uint32_t)(duration_s * 1000.0f);
        timed_forward_target.last_debug_time = HAL_GetTick();

        sprintf(uart_buffer, "Version 13 MOVE_TIME %.2fs pwm=%.2f\r\n", duration_s, base_pwm);
        HAL_UART_Transmit(&huart3, (uint8_t*)uart_buffer, strlen(uart_buffer), 100);

        Send_Response("OK MOVE_TIME\r\n");
        return;
    }

    if (strcmp(token, "ROTATE_DEG") == 0) {
        char *angle_token = strtok(NULL, " ,");
        if (angle_token == NULL || strtok(NULL, " ,") != NULL) {
            Send_Response("ERR ROTATE_DEG params\r\n");
            return;
        }

        float angle_deg = atof(angle_token);
        float angle_rad = angle_deg * M_PI / 180.0f;

        closed_loop_target.active = 1;
        closed_loop_target.target_x = robot.x;  // Don't move position
        closed_loop_target.target_y = robot.y;
        closed_loop_target.target_theta = robot.theta + angle_rad;
        // Normalize target angle
        while (closed_loop_target.target_theta > M_PI)
            closed_loop_target.target_theta -= 2.0f * M_PI;
        while (closed_loop_target.target_theta < -M_PI)
            closed_loop_target.target_theta += 2.0f * M_PI;

        closed_loop_target.tolerance_distance = cfg.rotate_tol_distance;
        closed_loop_target.tolerance_angle = cfg.rotate_tol_angle;
        closed_loop_target.timeout_ms = cfg.rotate_timeout_ms;
        closed_loop_target.start_time = HAL_GetTick();
        closed_loop_target.debug_logged_start = 0;
        closed_loop_target.last_debug_time = HAL_GetTick();

        Send_Response("OK ROTATE_DEG\r\n");
        return;
    }
    //THEANH END

    Send_Response("ERR UNKNOWN\r\n");
}

void MotorTimers_Update(void)
{
    uint32_t now = HAL_GetTick();
    for (uint8_t i = 0; i < 3; ++i) {
        if (motor_timers[i].active) {
            int32_t remaining = (int32_t)(motor_timers[i].end_time - now);
            if (remaining <= 0) {
                motor_timers[i].active = 0;
                MotorControl_Set(i + 1, MOTOR_DIRECTION_STOP);
            }
        }
    }
}
//THEANH END
/* USER CODE END 0 */

int main(void)
{

  /* MCU Configuration--------------------------------------------------------*/

  /* Reset of all peripherals, Initializes the Flash interface and the Systick. */
  HAL_Init();

  /* Configure the system clock */
  SystemClock_Config();

  /* Initialize all configured peripherals */
  MX_GPIO_Init();
  MX_TIM2_Init();
  MX_TIM3_Init();
  MX_TIM4_Init();
  MX_USART3_UART_Init();
  MX_TIM1_Init();
  /* USER CODE BEGIN 2 */
  //THEANH
  MotorControl_InitPwm();
  HAL_TIM_Encoder_Start(&htim2, TIM_CHANNEL_ALL);
  HAL_TIM_Encoder_Start(&htim3, TIM_CHANNEL_ALL);
  HAL_TIM_Encoder_Start(&htim4, TIM_CHANNEL_ALL);
  __HAL_TIM_SET_COUNTER(&htim2, 32768);
  __HAL_TIM_SET_COUNTER(&htim3, 32768);
  __HAL_TIM_SET_COUNTER(&htim4, 32768);
  motor1.prev_count = 32768;
  motor2.prev_count = 32768;
  motor3.prev_count = 32768;
  sprintf(uart_buffer, "STM32 Omni Robot Odometry Started\r\n");
  HAL_UART_Transmit(&huart3, (uint8_t*)uart_buffer, strlen(uart_buffer), 100);
  last_odometry_time = HAL_GetTick();
  Kinematics_Init();
  HAL_UART_Receive_IT(&huart3, &uart_rx_byte, 1);
  MotorControl_SetAll(MOTOR_DIRECTION_STOP,
                      MOTOR_DIRECTION_STOP,
                      MOTOR_DIRECTION_STOP);
  //THEANH END
  /* USER CODE END 2 */

  /* Infinite loop */
  /* USER CODE BEGIN WHILE */
  while (1)
  {
	  //THEANH
	  if (uart_command_ready)
	  {
		  Process_Command(command_buffer);
		  uart_command_ready = 0;
	  }

	  MotorTimers_Update();
	  UpdateClosedLoopControl(); // New closed-loop control update
	  UpdateTimedForwardControl();
	  UpdateMoveControl();

	  uint32_t current_time = HAL_GetTick();
	  if (current_time - last_odometry_time >= ODOMETRY_UPDATE_MS)
	  {
		  float dt = (current_time - last_odometry_time) / 1000.0f; // Convert to seconds

		  Read_Encoders();
		  Calculate_Odometry(dt);
		  Send_Odometry_Data();

		  last_odometry_time = current_time;
	  }
	  //THEANH END
    /* USER CODE END WHILE */

  }
}

void SystemClock_Config(void)
{
  RCC_OscInitTypeDef RCC_OscInitStruct = {0};
  RCC_ClkInitTypeDef RCC_ClkInitStruct = {0};

  /** Initializes the RCC Oscillators according to the specified parameters
  * in the RCC_OscInitTypeDef structure.
  */
  RCC_OscInitStruct.OscillatorType = RCC_OSCILLATORTYPE_HSI;
  RCC_OscInitStruct.HSIState = RCC_HSI_ON;
  RCC_OscInitStruct.HSICalibrationValue = RCC_HSICALIBRATION_DEFAULT;
  RCC_OscInitStruct.PLL.PLLState = RCC_PLL_NONE;
  if (HAL_RCC_OscConfig(&RCC_OscInitStruct) != HAL_OK)
  {
    Error_Handler();
  }

  /** Initializes the CPU, AHB and APB buses clocks
  */
  RCC_ClkInitStruct.ClockType = RCC_CLOCKTYPE_HCLK|RCC_CLOCKTYPE_SYSCLK
                              |RCC_CLOCKTYPE_PCLK1|RCC_CLOCKTYPE_PCLK2;
  RCC_ClkInitStruct.SYSCLKSource = RCC_SYSCLKSOURCE_HSI;
  RCC_ClkInitStruct.AHBCLKDivider = RCC_SYSCLK_DIV1;
  RCC_ClkInitStruct.APB1CLKDivider = RCC_HCLK_DIV1;
  RCC_ClkInitStruct.APB2CLKDivider = RCC_HCLK_DIV1;

  if (HAL_RCC_ClockConfig(&RCC_ClkInitStruct, FLASH_LATENCY_0) != HAL_OK)
  {
    Error_Handler();
  }
}

static void MX_TIM1_Init(void)
{

  TIM_MasterConfigTypeDef sMasterConfig = {0};
  TIM_OC_InitTypeDef sConfigOC = {0};
  TIM_BreakDeadTimeConfigTypeDef sBreakDeadTimeConfig = {0};

  htim1.Instance = TIM1;
  htim1.Init.Prescaler = 0;
  htim1.Init.CounterMode = TIM_COUNTERMODE_UP;
  htim1.Init.Period = 399;
  htim1.Init.ClockDivision = TIM_CLOCKDIVISION_DIV1;
  htim1.Init.RepetitionCounter = 0;
  htim1.Init.AutoReloadPreload = TIM_AUTORELOAD_PRELOAD_DISABLE;
  if (HAL_TIM_PWM_Init(&htim1) != HAL_OK)
  {
    Error_Handler();
  }
  sMasterConfig.MasterOutputTrigger = TIM_TRGO_RESET;
  sMasterConfig.MasterSlaveMode = TIM_MASTERSLAVEMODE_DISABLE;
  if (HAL_TIMEx_MasterConfigSynchronization(&htim1, &sMasterConfig) != HAL_OK)
  {
    Error_Handler();
  }
  sConfigOC.OCMode = TIM_OCMODE_PWM1;
  sConfigOC.Pulse = 0;
  sConfigOC.OCPolarity = TIM_OCPOLARITY_HIGH;
  sConfigOC.OCNPolarity = TIM_OCNPOLARITY_HIGH;
  sConfigOC.OCFastMode = TIM_OCFAST_DISABLE;
  sConfigOC.OCIdleState = TIM_OCIDLESTATE_RESET;
  sConfigOC.OCNIdleState = TIM_OCNIDLESTATE_RESET;
  if (HAL_TIM_PWM_ConfigChannel(&htim1, &sConfigOC, TIM_CHANNEL_1) != HAL_OK)
  {
    Error_Handler();
  }
  if (HAL_TIM_PWM_ConfigChannel(&htim1, &sConfigOC, TIM_CHANNEL_2) != HAL_OK)
  {
    Error_Handler();
  }
  if (HAL_TIM_PWM_ConfigChannel(&htim1, &sConfigOC, TIM_CHANNEL_3) != HAL_OK)
  {
    Error_Handler();
  }
  sBreakDeadTimeConfig.OffStateRunMode = TIM_OSSR_DISABLE;
  sBreakDeadTimeConfig.OffStateIDLEMode = TIM_OSSI_DISABLE;
  sBreakDeadTimeConfig.LockLevel = TIM_LOCKLEVEL_OFF;
  sBreakDeadTimeConfig.DeadTime = 0;
  sBreakDeadTimeConfig.BreakState = TIM_BREAK_DISABLE;
  sBreakDeadTimeConfig.BreakPolarity = TIM_BREAKPOLARITY_HIGH;
  sBreakDeadTimeConfig.AutomaticOutput = TIM_AUTOMATICOUTPUT_DISABLE;
  if (HAL_TIMEx_ConfigBreakDeadTime(&htim1, &sBreakDeadTimeConfig) != HAL_OK)
  {
    Error_Handler();
  }
  HAL_TIM_MspPostInit(&htim1);

}

static void MX_TIM2_Init(void)
{

  TIM_Encoder_InitTypeDef sConfig = {0};
  TIM_MasterConfigTypeDef sMasterConfig = {0};

  htim2.Instance = TIM2;
  htim2.Init.Prescaler = 0;
  htim2.Init.CounterMode = TIM_COUNTERMODE_UP;
  htim2.Init.Period = 65535;
  htim2.Init.ClockDivision = TIM_CLOCKDIVISION_DIV1;
  htim2.Init.AutoReloadPreload = TIM_AUTORELOAD_PRELOAD_DISABLE;
  sConfig.EncoderMode = TIM_ENCODERMODE_TI1;
  sConfig.IC1Polarity = TIM_ICPOLARITY_RISING;
  sConfig.IC1Selection = TIM_ICSELECTION_DIRECTTI;
  sConfig.IC1Prescaler = TIM_ICPSC_DIV1;
  sConfig.IC1Filter = 0;
  sConfig.IC2Polarity = TIM_ICPOLARITY_RISING;
  sConfig.IC2Selection = TIM_ICSELECTION_DIRECTTI;
  sConfig.IC2Prescaler = TIM_ICPSC_DIV1;
  sConfig.IC2Filter = 0;
  if (HAL_TIM_Encoder_Init(&htim2, &sConfig) != HAL_OK)
  {
    Error_Handler();
  }
  sMasterConfig.MasterOutputTrigger = TIM_TRGO_RESET;
  sMasterConfig.MasterSlaveMode = TIM_MASTERSLAVEMODE_DISABLE;
  if (HAL_TIMEx_MasterConfigSynchronization(&htim2, &sMasterConfig) != HAL_OK)
  {
    Error_Handler();
  }

}

static void MX_TIM3_Init(void)
{

  TIM_Encoder_InitTypeDef sConfig = {0};
  TIM_MasterConfigTypeDef sMasterConfig = {0};

  htim3.Instance = TIM3;
  htim3.Init.Prescaler = 0;
  htim3.Init.CounterMode = TIM_COUNTERMODE_UP;
  htim3.Init.Period = 65535;
  htim3.Init.ClockDivision = TIM_CLOCKDIVISION_DIV1;
  htim3.Init.AutoReloadPreload = TIM_AUTORELOAD_PRELOAD_DISABLE;
  sConfig.EncoderMode = TIM_ENCODERMODE_TI1;
  sConfig.IC1Polarity = TIM_ICPOLARITY_RISING;
  sConfig.IC1Selection = TIM_ICSELECTION_DIRECTTI;
  sConfig.IC1Prescaler = TIM_ICPSC_DIV1;
  sConfig.IC1Filter = 0;
  sConfig.IC2Polarity = TIM_ICPOLARITY_RISING;
  sConfig.IC2Selection = TIM_ICSELECTION_DIRECTTI;
  sConfig.IC2Prescaler = TIM_ICPSC_DIV1;
  sConfig.IC2Filter = 0;
  if (HAL_TIM_Encoder_Init(&htim3, &sConfig) != HAL_OK)
  {
    Error_Handler();
  }
  sMasterConfig.MasterOutputTrigger = TIM_TRGO_RESET;
  sMasterConfig.MasterSlaveMode = TIM_MASTERSLAVEMODE_DISABLE;
  if (HAL_TIMEx_MasterConfigSynchronization(&htim3, &sMasterConfig) != HAL_OK)
  {
    Error_Handler();
  }

}

static void MX_TIM4_Init(void)
{

  TIM_Encoder_InitTypeDef sConfig = {0};
  TIM_MasterConfigTypeDef sMasterConfig = {0};

  htim4.Instance = TIM4;
  htim4.Init.Prescaler = 0;
  htim4.Init.CounterMode = TIM_COUNTERMODE_UP;
  htim4.Init.Period = 65535;
  htim4.Init.ClockDivision = TIM_CLOCKDIVISION_DIV1;
  htim4.Init.AutoReloadPreload = TIM_AUTORELOAD_PRELOAD_DISABLE;
  sConfig.EncoderMode = TIM_ENCODERMODE_TI1;
  sConfig.IC1Polarity = TIM_ICPOLARITY_RISING;
  sConfig.IC1Selection = TIM_ICSELECTION_DIRECTTI;
  sConfig.IC1Prescaler = TIM_ICPSC_DIV1;
  sConfig.IC1Filter = 0;
  sConfig.IC2Polarity = TIM_ICPOLARITY_RISING;
  sConfig.IC2Selection = TIM_ICSELECTION_DIRECTTI;
  sConfig.IC2Prescaler = TIM_ICPSC_DIV1;
  sConfig.IC2Filter = 0;
  if (HAL_TIM_Encoder_Init(&htim4, &sConfig) != HAL_OK)
  {
    Error_Handler();
  }
  sMasterConfig.MasterOutputTrigger = TIM_TRGO_RESET;
  sMasterConfig.MasterSlaveMode = TIM_MASTERSLAVEMODE_DISABLE;
  if (HAL_TIMEx_MasterConfigSynchronization(&htim4, &sMasterConfig) != HAL_OK)
  {
    Error_Handler();
  }

}

static void MX_USART3_UART_Init(void)
{

  huart3.Instance = USART3;
  huart3.Init.BaudRate = 115200;
  huart3.Init.WordLength = UART_WORDLENGTH_8B;
  huart3.Init.StopBits = UART_STOPBITS_1;
  huart3.Init.Parity = UART_PARITY_NONE;
  huart3.Init.Mode = UART_MODE_TX_RX;
  huart3.Init.HwFlowCtl = UART_HWCONTROL_NONE;
  huart3.Init.OverSampling = UART_OVERSAMPLING_16;
  if (HAL_UART_Init(&huart3) != HAL_OK)
  {
    Error_Handler();
  }

}

static void MX_GPIO_Init(void)
{
  GPIO_InitTypeDef GPIO_InitStruct = {0};

  /* GPIO Ports Clock Enable */
  __HAL_RCC_GPIOA_CLK_ENABLE();
  __HAL_RCC_GPIOB_CLK_ENABLE();

  /*Configure GPIO pin Output Level */
  HAL_GPIO_WritePin(GPIOB, W1_A_Pin|W1_B_Pin|W2_B_Pin|W2_A_Pin
                          |W3_A_Pin|W3_B_Pin, GPIO_PIN_RESET);

  /*Configure GPIO pins : W1_A_Pin W1_B_Pin W2_B_Pin W2_A_Pin
                           W3_A_Pin W3_B_Pin */
  GPIO_InitStruct.Pin = W1_A_Pin|W1_B_Pin|W2_B_Pin|W2_A_Pin
                          |W3_A_Pin|W3_B_Pin;
  GPIO_InitStruct.Mode = GPIO_MODE_OUTPUT_PP;
  GPIO_InitStruct.Pull = GPIO_NOPULL;
  GPIO_InitStruct.Speed = GPIO_SPEED_FREQ_LOW;
  HAL_GPIO_Init(GPIOB, &GPIO_InitStruct);

}

/* USER CODE BEGIN 4 */
void HAL_UART_RxCpltCallback(UART_HandleTypeDef *huart)
{
  if (huart->Instance == USART3)
  {
    if (!uart_command_ready)
    {
      if (uart_rx_byte == '\r' || uart_rx_byte == '\n')
      {
        if (uart_command_length > 0)
        {
          if (uart_command_length >= sizeof(command_buffer))
          {
            command_buffer[sizeof(command_buffer) - 1] = '\0';
          }
          else
          {
            command_buffer[uart_command_length] = '\0';
          }
          uart_command_ready = 1;
        }
        uart_command_length = 0;
      }
      else
      {
        if (uart_command_length < sizeof(command_buffer) - 1)
        {
          command_buffer[uart_command_length++] = (char)uart_rx_byte;
        }
        else
        {
          uart_command_length = 0;
        }
      }
    }
    HAL_UART_Receive_IT(&huart3, &uart_rx_byte, 1);
  }
}
/* USER CODE END 4 */

void Error_Handler(void)
{
  __disable_irq();
  while (1)
  {
  }
}
